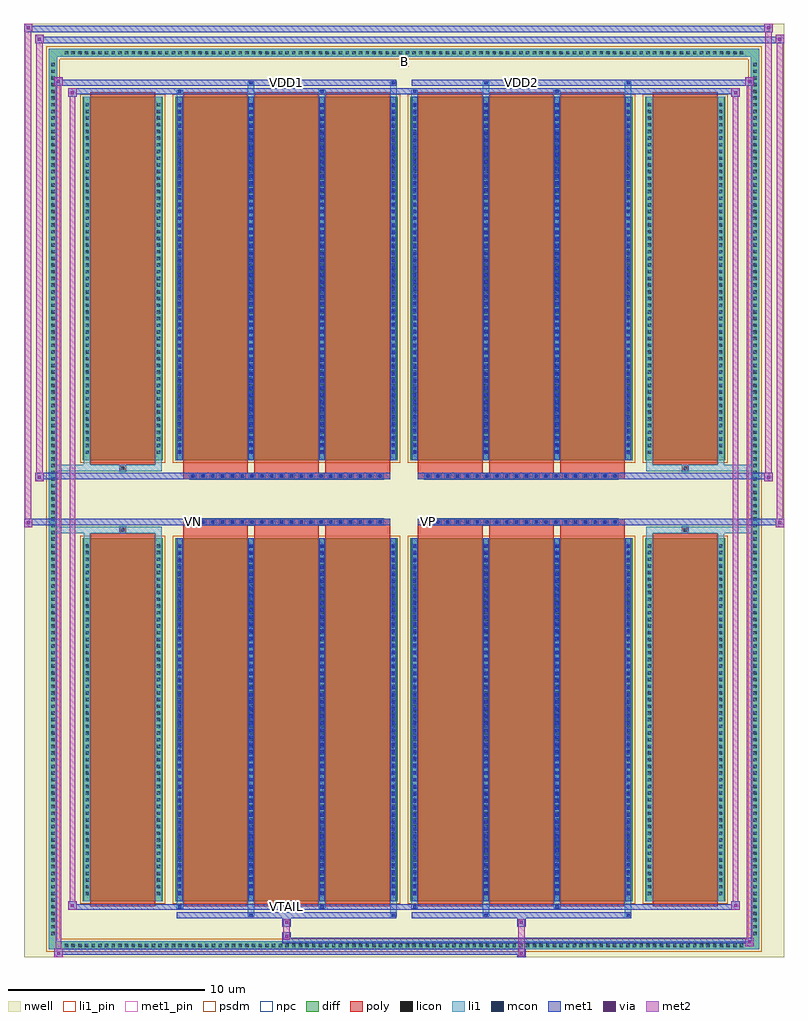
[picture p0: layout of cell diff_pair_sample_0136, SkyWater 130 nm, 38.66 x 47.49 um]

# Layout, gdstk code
import gdstk
lib = gdstk.Library(unit=1e-6, precision=5e-09)
def R(c, l, rs):  # rectangles x0, y0, x1, y1
    for r in rs: c.add(gdstk.rectangle(r[:2], r[2:], *l))
def A(c, l, x, y, w, h, nx, ny, dx, dy):  # array of equal rectangles
    R(c, l, [(x+i*dx, y+j*dy, x+i*dx+w, y+j*dy+h) for i in range(nx) for j in range(ny)])
def P(c, l, *ps):  # polygons
    for p in ps: c.add(gdstk.Polygon(p, *l))
nwell = (64, 20)
diff = (65, 20)
poly = (66, 20)
licon = (66, 44)
li1_pin = (67, 16)
li1 = (67, 20)
mcon = (67, 44)
met1_pin = (68, 16)
met1 = (68, 20)
via = (68, 44)
met2 = (69, 20)
psdm = (94, 20)
npc = (95, 20)

diff_pair_sample_0136 = lib.new_cell('diff_pair_sample_0136')
R(diff_pair_sample_0136, nwell, [(-19.33,-23.31,19.33,24.18), (-16.65,-21.5,-0.01,-0.8), (0.01,-21.5,16.65,-0.8), (-16.65,0.8,-0.01,21.5), (0.01,0.8,16.65,21.5)])
A(diff_pair_sample_0136, diff, -17.375, -22.91, 0.41, 0.41, 102, 2, 0.34, 45.41)
A(diff_pair_sample_0136, diff, -18.06, -22.305, 0.41, 0.41, 1, 131, 0, 0.34)
A(diff_pair_sample_0136, diff, 17.65, -22.305, 0.41, 0.41, 1, 131, 0, 0.34)
R(diff_pair_sample_0136, diff, [(-17.375,-22.91,17.375,-22.5), (-18.06,-22.305,-17.65,22.305), (17.65,-22.305,18.06,22.305), (-16.34,-20.455,-12.27,-1.985), (-11.63,-20.455,-0.32,-1.985), (0.32,-20.455,11.63,-1.985), (12.27,-20.455,16.34,-1.985), (-16.34,1.985,-12.27,20.455), (-11.63,1.985,-0.32,20.455), (0.32,1.985,11.63,20.455), (12.27,1.985,16.34,20.455), (-17.375,22.5,17.375,22.91)])
P(diff_pair_sample_0136, diff, [(18.06,22.91),(-18.06,22.91),(-18.06,-22.5),(-17.65,-22.5),(-17.65,22.5),(17.65,22.5),(17.65,-22.5),(-17.65,-22.5),(-18.06,-22.5),(-18.06,-22.91),(18.06,-22.91)])
A(diff_pair_sample_0136, poly, -11.24, -20.705, 3.29, 18.97, 3, 2, 3.62, 22.44)
A(diff_pair_sample_0136, poly, 0.71, -20.705, 3.29, 18.97, 3, 2, 3.62, 22.44)
A(diff_pair_sample_0136, poly, -11.24, -1.735, 3.29, 0.405, 3, 2, 3.62, 3.065)
A(diff_pair_sample_0136, poly, 0.71, -1.735, 3.29, 0.405, 3, 2, 3.62, 3.065)
A(diff_pair_sample_0136, poly, -10.89, -1.33, 0.33, 0.33, 20, 2, 0.5, 2.33)
A(diff_pair_sample_0136, poly, 1.06, -1.33, 0.33, 0.33, 20, 2, 0.5, 2.33)
R(diff_pair_sample_0136, poly, [(-15.95,-20.705,-12.66,-1.735), (12.66,-20.705,15.95,-1.735), (-14.47,-1.735,-14.14,-1.405), (-14.47,-1.735,-14.14,-1.405), (14.14,-1.735,14.47,-1.405), (14.14,-1.735,14.47,-1.405), (-11.24,-1.33,-0.71,-1), (0.71,-1.33,11.24,-1), (-11.24,1,-0.71,1.33), (0.71,1,11.24,1.33), (-14.47,1.405,-14.14,1.735), (-14.47,1.405,-14.14,1.735), (14.14,1.405,14.47,1.735), (14.14,1.405,14.47,1.735), (-15.95,1.735,-12.66,20.705), (12.66,1.735,15.95,20.705)])
A(diff_pair_sample_0136, licon, -17.255, -22.79, 0.17, 0.17, 102, 2, 0.34, 45.41)
A(diff_pair_sample_0136, licon, -17.94, -22.185, 0.17, 0.17, 1, 131, 0, 0.34)
A(diff_pair_sample_0136, licon, 17.77, -22.185, 0.17, 0.17, 1, 131, 0, 0.34)
A(diff_pair_sample_0136, licon, -16.2, -20.145, 0.17, 0.17, 1, 53, 0, 0.34)
A(diff_pair_sample_0136, licon, -12.58, -20.145, 0.17, 0.17, 1, 53, 0, 0.34)
A(diff_pair_sample_0136, licon, -11.49, -20.145, 0.17, 0.17, 4, 53, 3.62, 0.34)
A(diff_pair_sample_0136, licon, 0.46, -20.145, 0.17, 0.17, 4, 53, 3.62, 0.34)
A(diff_pair_sample_0136, licon, 12.41, -20.145, 0.17, 0.17, 1, 53, 0, 0.34)
A(diff_pair_sample_0136, licon, 16.03, -20.145, 0.17, 0.17, 1, 53, 0, 0.34)
A(diff_pair_sample_0136, licon, -10.81, -1.25, 0.17, 0.17, 20, 2, 0.5, 2.33)
A(diff_pair_sample_0136, licon, 1.14, -1.25, 0.17, 0.17, 20, 2, 0.5, 2.33)
A(diff_pair_sample_0136, licon, -16.2, 2.295, 0.17, 0.17, 1, 53, 0, 0.34)
A(diff_pair_sample_0136, licon, -12.58, 2.295, 0.17, 0.17, 1, 53, 0, 0.34)
A(diff_pair_sample_0136, licon, -11.49, 2.295, 0.17, 0.17, 4, 53, 3.62, 0.34)
A(diff_pair_sample_0136, licon, 0.46, 2.295, 0.17, 0.17, 4, 53, 3.62, 0.34)
A(diff_pair_sample_0136, licon, 12.41, 2.295, 0.17, 0.17, 1, 53, 0, 0.34)
A(diff_pair_sample_0136, licon, 16.03, 2.295, 0.17, 0.17, 1, 53, 0, 0.34)
R(diff_pair_sample_0136, licon, [(-14.39,-1.655,-14.22,-1.485), (14.22,-1.655,14.39,-1.485), (-14.39,1.485,-14.22,1.655), (14.22,1.485,14.39,1.655)])
R(diff_pair_sample_0136, li1_pin, [(-0.25,22,0.25,22.5)])
A(diff_pair_sample_0136, li1, -17.335, -22.87, 0.33, 0.33, 102, 2, 0.34, 45.41)
A(diff_pair_sample_0136, li1, -18.02, -22.265, 0.33, 0.33, 1, 131, 0, 0.34)
A(diff_pair_sample_0136, li1, 17.69, -22.265, 0.33, 0.33, 1, 131, 0, 0.34)
A(diff_pair_sample_0136, li1, -11.57, -20.455, 0.33, 18.47, 4, 2, 3.62, 22.44)
A(diff_pair_sample_0136, li1, 0.38, -20.455, 0.33, 18.47, 4, 2, 3.62, 22.44)
A(diff_pair_sample_0136, li1, -16.28, -20.225, 0.33, 0.33, 1, 53, 0, 0.34)
A(diff_pair_sample_0136, li1, -12.66, -20.225, 0.33, 0.33, 1, 53, 0, 0.34)
A(diff_pair_sample_0136, li1, -11.57, -20.225, 0.33, 0.33, 4, 53, 3.62, 0.34)
A(diff_pair_sample_0136, li1, 0.38, -20.225, 0.33, 0.33, 4, 53, 3.62, 0.34)
A(diff_pair_sample_0136, li1, 12.33, -20.225, 0.33, 0.33, 1, 53, 0, 0.34)
A(diff_pair_sample_0136, li1, 15.95, -20.225, 0.33, 0.33, 1, 53, 0, 0.34)
A(diff_pair_sample_0136, li1, -11.49, -20.125, 0.17, 0.17, 4, 50, 3.62, 0.36)
A(diff_pair_sample_0136, li1, -11.49, -20.125, 0.17, 17.81, 4, 2, 3.62, 22.44)
A(diff_pair_sample_0136, li1, 0.46, -20.125, 0.17, 0.17, 4, 50, 3.62, 0.36)
A(diff_pair_sample_0136, li1, 0.46, -20.125, 0.17, 17.81, 4, 2, 3.62, 22.44)
A(diff_pair_sample_0136, li1, -10.89, -1.33, 0.33, 0.33, 20, 2, 0.5, 2.33)
A(diff_pair_sample_0136, li1, 1.06, -1.33, 0.33, 0.33, 20, 2, 0.5, 2.33)
A(diff_pair_sample_0136, li1, -16.28, 2.215, 0.33, 0.33, 1, 53, 0, 0.34)
A(diff_pair_sample_0136, li1, -12.66, 2.215, 0.33, 0.33, 1, 53, 0, 0.34)
A(diff_pair_sample_0136, li1, -11.57, 2.215, 0.33, 0.33, 4, 53, 3.62, 0.34)
A(diff_pair_sample_0136, li1, 0.38, 2.215, 0.33, 0.33, 4, 53, 3.62, 0.34)
A(diff_pair_sample_0136, li1, 12.33, 2.215, 0.33, 0.33, 1, 53, 0, 0.34)
A(diff_pair_sample_0136, li1, 15.95, 2.215, 0.33, 0.33, 1, 53, 0, 0.34)
A(diff_pair_sample_0136, li1, -11.49, 2.315, 0.17, 0.17, 4, 50, 3.62, 0.36)
A(diff_pair_sample_0136, li1, 0.46, 2.315, 0.17, 0.17, 4, 50, 3.62, 0.36)
R(diff_pair_sample_0136, li1, [(-18.06,-22.91,-17.65,-22.5), (-18.06,-22.91,-17.65,-22.5), (-17.65,-22.91,17.65,-22.5), (17.65,-22.91,18.06,-22.5), (17.65,-22.91,18.06,-22.5), (-18.06,-22.5,-17.65,22.5), (17.65,-22.5,18.06,22.5), (-7.95,-21.26,-7.62,-20.455), (-7.87,-21.26,-7.7,-21.09), (-0.71,-21.26,-0.38,-20.455), (-0.63,-21.26,-0.46,-21.09), (4,-21.26,4.33,-20.455), (4.08,-21.26,4.25,-21.09), (11.24,-21.26,11.57,-20.455), (11.32,-21.26,11.49,-21.09), (-11.57,-20.83,-11.24,-20.455), (-11.49,-20.83,-11.32,-20.66), (-4.33,-20.83,-4,-20.455), (-4.25,-20.83,-4.08,-20.66), (0.38,-20.83,0.71,-20.455), (0.46,-20.83,0.63,-20.66), (7.62,-20.83,7.95,-20.455), (7.7,-20.83,7.87,-20.66), (-16.28,-20.455,-15.95,-1.985), (-12.66,-20.455,-12.33,-1.985), (12.33,-20.455,12.66,-1.985), (15.95,-20.455,16.28,-1.985), (-16.28,-1.985,-15.95,-1.405), (-12.66,-1.985,-12.33,-1.405), (12.33,-1.985,12.66,-1.405), (15.95,-1.985,16.28,-1.405), (-18.06,-1.735,-14.47,-1.405), (-16.28,-1.735,-14.47,-1.405), (-14.47,-1.735,-14.14,-1.405), (-14.14,-1.735,-12.33,-1.405), (12.33,-1.735,14.14,-1.405), (14.14,-1.735,14.47,-1.405), (14.14,-1.735,18.06,-1.405), (14.47,-1.735,16.28,-1.405), (-18.06,1.405,-14.47,1.735), (-16.28,1.405,-14.47,1.735), (-16.28,1.405,-15.95,1.985), (-14.47,1.405,-14.14,1.735), (-14.14,1.405,-12.33,1.735), (-12.66,1.405,-12.33,1.985), (12.33,1.405,14.14,1.735), (12.33,1.405,12.66,1.985), (14.14,1.405,14.47,1.735), (14.14,1.405,18.06,1.735), (14.47,1.405,16.28,1.735), (15.95,1.405,16.28,1.985), (-16.28,1.985,-15.95,20.455), (-12.66,1.985,-12.33,20.455), (12.33,1.985,12.66,20.455), (15.95,1.985,16.28,20.455), (-11.57,20.455,-11.24,20.83), (-7.95,20.455,-7.62,21.26), (-4.33,20.455,-4,20.83), (-0.71,20.455,-0.38,21.26), (0.38,20.455,0.71,20.83), (4,20.455,4.33,21.26), (7.62,20.455,7.95,20.83), (11.24,20.455,11.57,21.26), (-11.49,20.66,-11.32,20.83), (-4.25,20.66,-4.08,20.83), (0.46,20.66,0.63,20.83), (7.7,20.66,7.87,20.83), (-7.87,21.09,-7.7,21.26), (-0.63,21.09,-0.46,21.26), (4.08,21.09,4.25,21.26), (11.32,21.09,11.49,21.26), (-18.06,22.5,-17.65,22.91), (-18.06,22.5,-17.65,22.91), (-17.65,22.5,17.65,22.91), (17.65,22.5,18.06,22.91), (17.65,22.5,18.06,22.91)])
A(diff_pair_sample_0136, mcon, -11.49, -20.125, 0.17, 0.17, 4, 50, 3.62, 0.36)
A(diff_pair_sample_0136, mcon, 0.46, -20.125, 0.17, 0.17, 4, 50, 3.62, 0.36)
A(diff_pair_sample_0136, mcon, -10.81, -1.25, 0.17, 0.17, 20, 2, 0.5, 2.33)
A(diff_pair_sample_0136, mcon, 1.14, -1.25, 0.17, 0.17, 20, 2, 0.5, 2.33)
A(diff_pair_sample_0136, mcon, -11.49, 2.315, 0.17, 0.17, 4, 50, 3.62, 0.36)
A(diff_pair_sample_0136, mcon, 0.46, 2.315, 0.17, 0.17, 4, 50, 3.62, 0.36)
R(diff_pair_sample_0136, mcon, [(-7.87,-21.26,-7.7,-21.09), (-0.63,-21.26,-0.46,-21.09), (4.08,-21.26,4.25,-21.09), (11.32,-21.26,11.49,-21.09), (-11.49,-20.83,-11.32,-20.66), (-4.25,-20.83,-4.08,-20.66), (0.46,-20.83,0.63,-20.66), (7.7,-20.83,7.87,-20.66), (-11.49,20.66,-11.32,20.83), (-4.25,20.66,-4.08,20.83), (0.46,20.66,0.63,20.83), (7.7,20.66,7.87,20.83), (-7.87,21.09,-7.7,21.26), (-0.63,21.09,-0.46,21.26), (4.08,21.09,4.25,21.26), (11.32,21.09,11.49,21.26)])
R(diff_pair_sample_0136, met1_pin, [(-6.11,-20.87,-5.84,-20.6), (-10.86,-1.29,-10.59,-1.02), (1.09,-1.29,1.36,-1.02), (-6.11,21.05,-5.84,21.32), (5.84,21.05,6.11,21.32)])
A(diff_pair_sample_0136, met1, -11.55, -20.455, 0.29, 18.47, 4, 2, 3.62, 22.44)
A(diff_pair_sample_0136, met1, 0.4, -20.455, 0.29, 18.47, 4, 2, 3.62, 22.44)
A(diff_pair_sample_0136, met1, -11.55, -20.185, 0.29, 0.29, 4, 50, 3.62, 0.36)
A(diff_pair_sample_0136, met1, 0.4, -20.185, 0.29, 0.29, 4, 50, 3.62, 0.36)
A(diff_pair_sample_0136, met1, -10.87, -1.31, 0.29, 0.29, 20, 2, 0.5, 2.33)
A(diff_pair_sample_0136, met1, 1.08, -1.31, 0.29, 0.29, 20, 2, 0.5, 2.33)
A(diff_pair_sample_0136, met1, -11.55, 2.255, 0.29, 0.29, 4, 50, 3.62, 0.36)
A(diff_pair_sample_0136, met1, 0.4, 2.255, 0.29, 0.29, 4, 50, 3.62, 0.36)
R(diff_pair_sample_0136, met1, [(-17.79,-23.31,-17.36,-22.88), (5.76,-23.31,6.19,-22.88), (-17.79,-23.17,6.19,-22.88), (17.36,-22.74,17.79,-22.31), (-6.19,-22.6,17.79,-22.31), (-6.19,-22.46,-5.76,-22.03), (-6.19,-21.75,-5.76,-21.32), (5.76,-21.75,6.19,-21.32), (-11.55,-21.32,-0.4,-21.03), (-7.93,-21.32,-7.64,-21.03), (-0.69,-21.32,-0.4,-21.03), (0.4,-21.32,11.55,-21.03), (4.02,-21.32,4.31,-21.03), (11.26,-21.32,11.55,-21.03), (-17.08,-20.89,-16.65,-20.46), (-17.08,-20.89,-11.55,-20.6), (-11.55,-20.89,-11.26,-20.6), (-11.55,-20.89,-0.4,-20.6), (-4.31,-20.89,-4.02,-20.6), (-0.4,-20.89,0.4,-20.6), (0.4,-20.89,0.69,-20.6), (0.4,-20.89,11.55,-20.6), (7.64,-20.89,7.93,-20.6), (11.55,-20.89,17.08,-20.6), (16.65,-20.89,17.08,-20.46), (-19.33,-1.43,-18.9,-1), (18.9,-1.43,19.33,-1), (-19.33,-1.33,-0.71,-1), (-11.24,-1.33,-0.71,-1), (0.71,-1.33,11.24,-1), (0.71,-1.33,19.33,-1), (-18.76,0.9,-18.33,1.33), (18.33,0.9,18.76,1.33), (-18.76,1,-11.24,1.33), (-11.24,1,-0.71,1.33), (0.71,1,11.24,1.33), (11.24,1,18.76,1.33), (-17.08,20.46,-16.65,20.89), (16.65,20.46,17.08,20.89), (-17.08,20.6,-11.55,20.89), (-11.55,20.6,-11.26,20.89), (-11.55,20.6,-0.4,20.89), (-4.31,20.6,-4.02,20.89), (-0.4,20.6,0.4,20.89), (0.4,20.6,0.69,20.89), (0.4,20.6,11.55,20.89), (7.64,20.6,7.93,20.89), (11.55,20.6,17.08,20.89), (-17.79,21.03,-17.36,21.46), (-17.79,21.03,-11.55,21.32), (-11.55,21.03,-0.4,21.32), (-7.93,21.03,-7.64,21.32), (-0.69,21.03,-0.4,21.32), (0.4,21.03,11.55,21.32), (4.02,21.03,4.31,21.32), (11.26,21.03,11.55,21.32), (11.55,21.03,17.79,21.32), (17.36,21.03,17.79,21.46), (-18.76,23.18,-18.33,23.61), (-18.76,23.18,-16.65,23.51), (-16.65,23.18,16.65,23.51), (16.65,23.18,19.33,23.51), (18.9,23.18,19.33,23.61), (-19.33,23.75,-18.9,24.18), (-19.33,23.75,-16.65,24.08), (-16.65,23.75,16.65,24.08), (16.65,23.75,18.76,24.08), (18.33,23.75,18.76,24.18)])
R(diff_pair_sample_0136, via, [(-17.65,-23.17,-17.5,-23.02), (5.9,-23.17,6.05,-23.02), (17.5,-22.6,17.65,-22.45), (-6.05,-22.32,-5.9,-22.17), (-6.05,-21.61,-5.9,-21.46), (5.9,-21.61,6.05,-21.46), (-16.94,-20.75,-16.79,-20.6), (16.79,-20.75,16.94,-20.6), (-19.19,-1.29,-19.04,-1.14), (19.04,-1.29,19.19,-1.14), (-18.62,1.04,-18.47,1.19), (18.47,1.04,18.62,1.19), (-16.94,20.6,-16.79,20.75), (16.79,20.6,16.94,20.75), (-17.65,21.17,-17.5,21.32), (17.5,21.17,17.65,21.32), (-18.62,23.32,-18.47,23.47), (19.04,23.32,19.19,23.47), (-19.19,23.89,-19.04,24.04), (18.47,23.89,18.62,24.04)])
R(diff_pair_sample_0136, met2, [(-17.79,-23.31,-17.36,-22.88), (-17.72,-23.31,-17.43,21.46), (-17.43,-23.31,-17.36,-22.88), (-17.74,-23.26,-17.41,-22.93), (5.81,-23.26,6.14,-22.93), (5.81,-22.93,6.14,-21.7), (17.36,-22.74,17.79,-22.31), (17.43,-22.74,17.72,21.46), (17.72,-22.74,17.79,-22.31), (17.41,-22.69,17.74,-22.36), (-6.14,-22.41,-5.81,-22.08), (-6.14,-22.08,-5.81,-21.7), (-6.14,-21.7,-5.81,-21.37), (5.81,-21.7,6.14,-21.37), (-17.08,-20.89,-16.65,-20.46), (-17.01,-20.89,-16.72,20.89), (-16.72,-20.89,-16.65,-20.46), (16.65,-20.89,17.08,-20.46), (16.72,-20.89,17.01,20.89), (17.01,-20.89,17.08,-20.46), (-17.03,-20.84,-16.7,-20.51), (16.7,-20.84,17.03,-20.51), (-19.33,-1.43,-18.9,-1), (-19.28,-1.43,-18.95,24.18), (-18.95,-1.43,-18.9,-1), (18.9,-1.43,19.33,-1), (18.95,-1.43,19.28,23.61), (19.28,-1.43,19.33,-1), (-19.28,-1.38,-18.95,-1.05), (18.95,-1.38,19.28,-1.05), (-18.76,0.9,-18.33,1.33), (-18.71,0.9,-18.38,23.61), (-18.38,0.9,-18.33,1.33), (18.33,0.9,18.76,1.33), (18.38,0.9,18.71,24.18), (18.71,0.9,18.76,1.33), (-18.71,0.95,-18.38,1.28), (18.38,0.95,18.71,1.28), (-17.08,20.46,-16.65,20.89), (-16.72,20.46,-16.65,20.89), (16.65,20.46,17.08,20.89), (17.01,20.46,17.08,20.89), (-17.03,20.51,-16.7,20.84), (16.7,20.51,17.03,20.84), (-17.79,21.03,-17.36,21.46), (-17.43,21.03,-17.36,21.46), (17.36,21.03,17.79,21.46), (17.72,21.03,17.79,21.46), (-17.74,21.08,-17.41,21.41), (17.41,21.08,17.74,21.41), (-18.76,23.18,-18.33,23.61), (-18.38,23.18,-18.33,23.61), (18.9,23.18,19.33,23.61), (19.28,23.18,19.33,23.61), (-18.71,23.23,-18.38,23.56), (18.95,23.23,19.28,23.56), (-19.33,23.75,-18.9,24.18), (-18.95,23.75,-18.9,24.18), (18.33,23.75,18.76,24.18), (18.71,23.75,18.76,24.18), (-19.28,23.8,-18.95,24.13), (18.38,23.8,18.71,24.13)])
R(diff_pair_sample_0136, psdm, [(-16.47,-20.585,-12.14,-1.855), (-11.76,-20.585,-0.19,-1.855), (0.19,-20.585,11.76,-1.855), (12.14,-20.585,16.47,-1.855), (-16.47,1.855,-12.14,20.585), (-11.76,1.855,-0.19,20.585), (0.19,1.855,11.76,20.585), (12.14,1.855,16.47,20.585)])
P(diff_pair_sample_0136, psdm, [(18.19,23.04),(-18.19,23.04),(-18.19,-22.37),(-17.52,-22.37),(-17.52,22.37),(17.52,22.37),(17.52,-22.37),(-17.52,-22.37),(-18.19,-22.37),(-18.19,-23.04),(18.19,-23.04)])
A(diff_pair_sample_0136, npc, -10.91, -1.35, 0.37, 0.37, 20, 2, 0.5, 2.33)
A(diff_pair_sample_0136, npc, 1.04, -1.35, 0.37, 0.37, 20, 2, 0.5, 2.33)
R(diff_pair_sample_0136, npc, [(-14.49,-1.755,-14.12,-1.385), (14.12,-1.755,14.49,-1.385), (-10.91,-1.35,-10.04,-0.98), (-10.91,-1.35,-10.04,-0.98), (-10.41,-1.35,-9.54,-0.98), (-10.41,-1.35,-9.54,-0.98), (-9.91,-1.35,-9.04,-0.98), (-9.91,-1.35,-9.04,-0.98), (-9.41,-1.35,-8.54,-0.98), (-9.41,-1.35,-8.54,-0.98), (-8.91,-1.35,-8.04,-0.98), (-8.91,-1.35,-8.04,-0.98), (-8.41,-1.35,-7.54,-0.98), (-8.41,-1.35,-7.54,-0.98), (-7.91,-1.35,-7.04,-0.98), (-7.91,-1.35,-7.04,-0.98), (-7.41,-1.35,-6.54,-0.98), (-7.41,-1.35,-6.54,-0.98), (-6.91,-1.35,-6.04,-0.98), (-6.91,-1.35,-6.04,-0.98), (-6.41,-1.35,-5.54,-0.98), (-6.41,-1.35,-5.54,-0.98), (-5.91,-1.35,-5.04,-0.98), (-5.91,-1.35,-5.04,-0.98), (-5.41,-1.35,-4.54,-0.98), (-5.41,-1.35,-4.54,-0.98), (-4.91,-1.35,-4.04,-0.98), (-4.91,-1.35,-4.04,-0.98), (-4.41,-1.35,-3.54,-0.98), (-4.41,-1.35,-3.54,-0.98), (-3.91,-1.35,-3.04,-0.98), (-3.91,-1.35,-3.04,-0.98), (-3.41,-1.35,-2.54,-0.98), (-3.41,-1.35,-2.54,-0.98), (-2.91,-1.35,-2.04,-0.98), (-2.91,-1.35,-2.04,-0.98), (-2.41,-1.35,-1.54,-0.98), (-2.41,-1.35,-1.54,-0.98), (-1.91,-1.35,-1.04,-0.98), (-1.91,-1.35,-1.04,-0.98), (1.04,-1.35,1.91,-0.98), (1.04,-1.35,1.91,-0.98), (1.54,-1.35,2.41,-0.98), (1.54,-1.35,2.41,-0.98), (2.04,-1.35,2.91,-0.98), (2.04,-1.35,2.91,-0.98), (2.54,-1.35,3.41,-0.98), (2.54,-1.35,3.41,-0.98), (3.04,-1.35,3.91,-0.98), (3.04,-1.35,3.91,-0.98), (3.54,-1.35,4.41,-0.98), (3.54,-1.35,4.41,-0.98), (4.04,-1.35,4.91,-0.98), (4.04,-1.35,4.91,-0.98), (4.54,-1.35,5.41,-0.98), (4.54,-1.35,5.41,-0.98), (5.04,-1.35,5.91,-0.98), (5.04,-1.35,5.91,-0.98), (5.54,-1.35,6.41,-0.98), (5.54,-1.35,6.41,-0.98), (6.04,-1.35,6.91,-0.98), (6.04,-1.35,6.91,-0.98), (6.54,-1.35,7.41,-0.98), (6.54,-1.35,7.41,-0.98), (7.04,-1.35,7.91,-0.98), (7.04,-1.35,7.91,-0.98), (7.54,-1.35,8.41,-0.98), (7.54,-1.35,8.41,-0.98), (8.04,-1.35,8.91,-0.98), (8.04,-1.35,8.91,-0.98), (8.54,-1.35,9.41,-0.98), (8.54,-1.35,9.41,-0.98), (9.04,-1.35,9.91,-0.98), (9.04,-1.35,9.91,-0.98), (9.54,-1.35,10.41,-0.98), (9.54,-1.35,10.41,-0.98), (10.04,-1.35,10.91,-0.98), (10.04,-1.35,10.91,-0.98), (-10.91,0.98,-10.04,1.35), (-10.91,0.98,-10.04,1.35), (-10.41,0.98,-9.54,1.35), (-10.41,0.98,-9.54,1.35), (-9.91,0.98,-9.04,1.35), (-9.91,0.98,-9.04,1.35), (-9.41,0.98,-8.54,1.35), (-9.41,0.98,-8.54,1.35), (-8.91,0.98,-8.04,1.35), (-8.91,0.98,-8.04,1.35), (-8.41,0.98,-7.54,1.35), (-8.41,0.98,-7.54,1.35), (-7.91,0.98,-7.04,1.35), (-7.91,0.98,-7.04,1.35), (-7.41,0.98,-6.54,1.35), (-7.41,0.98,-6.54,1.35), (-6.91,0.98,-6.04,1.35), (-6.91,0.98,-6.04,1.35), (-6.41,0.98,-5.54,1.35), (-6.41,0.98,-5.54,1.35), (-5.91,0.98,-5.04,1.35), (-5.91,0.98,-5.04,1.35), (-5.41,0.98,-4.54,1.35), (-5.41,0.98,-4.54,1.35), (-4.91,0.98,-4.04,1.35), (-4.91,0.98,-4.04,1.35), (-4.41,0.98,-3.54,1.35), (-4.41,0.98,-3.54,1.35), (-3.91,0.98,-3.04,1.35), (-3.91,0.98,-3.04,1.35), (-3.41,0.98,-2.54,1.35), (-3.41,0.98,-2.54,1.35), (-2.91,0.98,-2.04,1.35), (-2.91,0.98,-2.04,1.35), (-2.41,0.98,-1.54,1.35), (-2.41,0.98,-1.54,1.35), (-1.91,0.98,-1.04,1.35), (-1.91,0.98,-1.04,1.35), (1.04,0.98,1.91,1.35), (1.04,0.98,1.91,1.35), (1.54,0.98,2.41,1.35), (1.54,0.98,2.41,1.35), (2.04,0.98,2.91,1.35), (2.04,0.98,2.91,1.35), (2.54,0.98,3.41,1.35), (2.54,0.98,3.41,1.35), (3.04,0.98,3.91,1.35), (3.04,0.98,3.91,1.35), (3.54,0.98,4.41,1.35), (3.54,0.98,4.41,1.35), (4.04,0.98,4.91,1.35), (4.04,0.98,4.91,1.35), (4.54,0.98,5.41,1.35), (4.54,0.98,5.41,1.35), (5.04,0.98,5.91,1.35), (5.04,0.98,5.91,1.35), (5.54,0.98,6.41,1.35), (5.54,0.98,6.41,1.35), (6.04,0.98,6.91,1.35), (6.04,0.98,6.91,1.35), (6.54,0.98,7.41,1.35), (6.54,0.98,7.41,1.35), (7.04,0.98,7.91,1.35), (7.04,0.98,7.91,1.35), (7.54,0.98,8.41,1.35), (7.54,0.98,8.41,1.35), (8.04,0.98,8.91,1.35), (8.04,0.98,8.91,1.35), (8.54,0.98,9.41,1.35), (8.54,0.98,9.41,1.35), (9.04,0.98,9.91,1.35), (9.04,0.98,9.91,1.35), (9.54,0.98,10.41,1.35), (9.54,0.98,10.41,1.35), (10.04,0.98,10.91,1.35), (10.04,0.98,10.91,1.35), (-14.49,1.385,-14.12,1.755), (14.12,1.385,14.49,1.755)])
diff_pair_sample_0136.add(gdstk.Label('VTAIL', (-5.975,-20.735), layer=68, texttype=5))
diff_pair_sample_0136.add(gdstk.Label('VN', (-10.725,-1.155), layer=68, texttype=5))
diff_pair_sample_0136.add(gdstk.Label('VP', (1.225,-1.155), layer=68, texttype=5))
diff_pair_sample_0136.add(gdstk.Label('B', (0,22.25), layer=67, texttype=5))
diff_pair_sample_0136.add(gdstk.Label('VDD2', (5.975,21.185), layer=68, texttype=5))
diff_pair_sample_0136.add(gdstk.Label('VDD1', (-5.975,21.185), layer=68, texttype=5))

lib.write_gds('diff_pair_sample_0136.gds')
